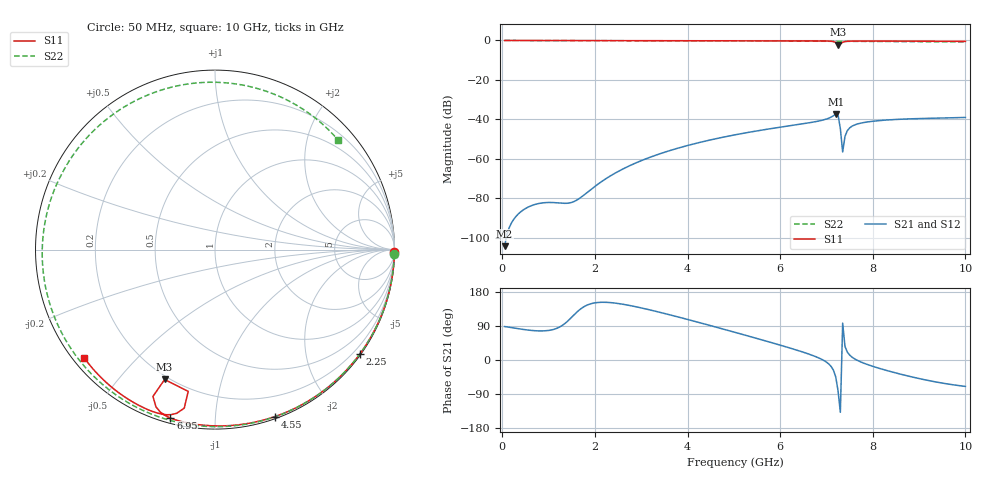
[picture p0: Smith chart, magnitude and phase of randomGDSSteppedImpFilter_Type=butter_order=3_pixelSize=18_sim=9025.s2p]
! freq	dB(S11)	phase(S11)	dB(S12)	phase(S12)
!  dB(S21)	phase(S21)	dB(S22)	phase(S22)
!S-par simulation data
#  GHz  S  DB  R 50
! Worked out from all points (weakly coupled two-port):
!   200 points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, 50 MHz to 10 GHz, reference 50 ohm
!   highest |S21| = -37.39 dB at 7.2 GHz (marker M1); lowest = -104.4 dB at 50 MHz (marker M2)
!   lowest |S11| = -2.2 dB at 7.25 GHz (marker M3), VSWR 7.93, Z = 9.19 - j33.4 ohm
!   |S11| at or under -10 dB: nowhere
!   |S22| runs from -0.7 to 0.0 dB; largest |S21 - S12| = 0
!   S11 on the Smith chart (normalised r, x): 50 MHz: open; 2.25 GHz: 0.03, -3.08; 4.55 GHz: 0.02, -1.42; 6.95 GHz: 0.02, -0.77; 10 GHz: 0.03, -0.36
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0.05  -0.00 -0.8  -104.36 88.2  -104.36 88.2  -0.00 -1.5
0.85  -0.02 -13.8  -82.46 76.7  -82.46 76.7  -0.03 -24.7
1.65  -0.03 -26.5  -80.38 130.7  -80.38 130.7  -0.06 -47.4
1.75  -0.04 -28.1  -78.67 139.6  -78.67 139.6  -0.06 -50.2
2.25  -0.05 -35.9  -69.94 152.2  -69.94 152.2  -0.08 -64.1
2.75  -0.06 -43.6  -63.54 143.9  -63.54 143.9  -0.10 -77.7
3.4  -0.07 -53.5  -57.51 125.9  -57.51 125.9  -0.12 -95.1
4.55  -0.10 -70.3  -50.17 89.0  -50.17 89.0  -0.18 -125.6
5.05  -0.12 -77.4  -47.76 72.2  -47.76 72.2  -0.21 -139.0
5.9  -0.15 -89.2  -44.36 42.8  -44.36 42.8  -0.28 -162.5
6.7  -0.21 -100.6  -41.47 12.0  -41.47 12.0  -0.35 173.5
6.95  -0.26 -104.8  -40.21 -1.7  -40.21 -1.7  -0.38 165.6
7.2  -1.03 -112.9  -37.39 -44.4  -37.39 -44.4  -0.41 157.3
7.25  -2.20 -111.2  -37.76 -81.1  -37.76 -81.1  -0.42 155.6
7.3  -1.89 -100.7  -44.74 -138.0  -44.74 -138.0  -0.43 153.9
7.35  -0.92 -101.0  -56.58 97.2  -56.58 97.2  -0.43 152.2
7.4  -0.57 -103.2  -48.67 35.6  -48.67 35.6  -0.43 150.5
7.45  -0.43 -104.9  -45.79 21.0  -45.79 21.0  -0.44 148.8
7.55  -0.33 -107.5  -43.52 7.8  -43.52 7.8  -0.45 145.2
8.35  -0.32 -119.4  -40.28 -29.4  -40.28 -29.4  -0.54 114.9
9.2  -0.39 -130.3  -39.51 -54.1  -39.51 -54.1  -0.64 78.5
10  -0.48 -140.2  -39.04 -69.8  -39.04 -69.8  -0.74 41.6
